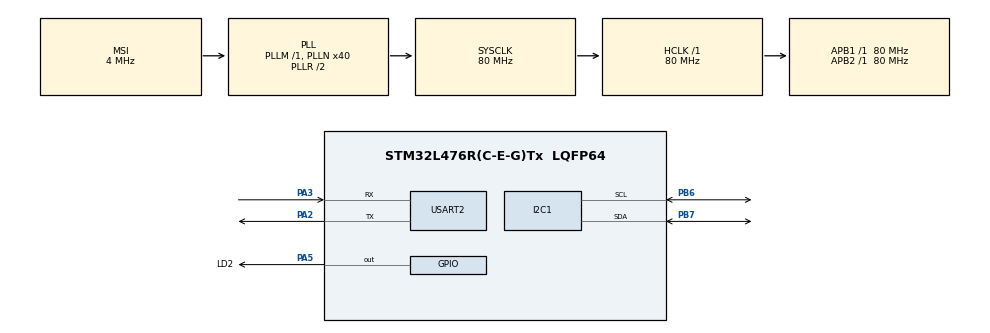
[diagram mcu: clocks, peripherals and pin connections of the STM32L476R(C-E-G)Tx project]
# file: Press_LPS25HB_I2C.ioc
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I2C1.Timing=0x10D19CE4
Mcu.Family=STM32L4
Mcu.Name=STM32L476R(C-E-G)Tx
Mcu.Package=LQFP64
NVIC.PriorityGroup=NVIC_PRIORITYGROUP_4
PA13\ (JTMS-SWDIO).Mode=Serial_Wire
PA13\ (JTMS-SWDIO).Signal=SYS_JTMS-SWDIO
PA14\ (JTCK-SWCLK).Mode=Serial_Wire
PA14\ (JTCK-SWCLK).Signal=SYS_JTCK-SWCLK
PA2.Mode=Asynchronous
PA2.Signal=USART2_TX
PA3.Mode=Asynchronous
PA3.Signal=USART2_RX
PA5.GPIO_Label=LD2
PA5.GPIO_PuPd=GPIO_PULLUP
PA5.Signal=GPIO_Output
PB6.Mode=I2C
PB6.Signal=I2C1_SCL
PB7.Mode=I2C
PB7.Signal=I2C1_SDA
ProjectManager.HeapSize=0x200
ProjectManager.StackSize=0x400
ProjectManager.TargetToolchain=STM32CubeIDE
RCC.AHBFreq_Value=80000000
RCC.APB1Freq_Value=80000000
RCC.APB1TimFreq_Value=80000000
RCC.APB2Freq_Value=80000000
RCC.APB2TimFreq_Value=80000000
RCC.CortexFreq_Value=80000000
RCC.HCLKFreq_Value=80000000
RCC.HSE_VALUE=8000000
RCC.HSI_VALUE=16000000
RCC.LSE_VALUE=32768
RCC.MSI_VALUE=4000000
RCC.PLLN=40
RCC.SYSCLKFreq_VALUE=80000000
RCC.SYSCLKSource=RCC_SYSCLKSOURCE_PLLCLK
RCC.VCOOutputFreq_Value=160000000
USART2.VirtualMode-Asynchronous=VM_ASYNC
board=custom

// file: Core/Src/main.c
/* USER CODE BEGIN Header */
/**
  ******************************************************************************
  * @file           : main.c
  * @brief          : Main program body
  ******************************************************************************
  * @attention
  *
  * Copyright (c) 2025 STMicroelectronics.
  * All rights reserved.
  *
  * This software is licensed under terms that can be found in the LICENSE file
  * in the root directory of this software component.
  * If no LICENSE file comes with this software, it is provided AS-IS.
  *
  ******************************************************************************
  */
/* USER CODE END Header */
#include "main.h"
#include "i2c.h"
#include "usart.h"
#include "gpio.h"

/* USER CODE BEGIN Includes */
#include <stdio.h>

#include "lps25hb_lib.h"
/* USER CODE END Includes */

/* USER CODE BEGIN PD */
#define MEASUREMENT_DELAY 800
/* USER CODE END PD */

void SystemClock_Config(void);

/* USER CODE BEGIN 0 */
int __io_putchar(int character)
{
	if(character == '\n')
	{
		int newLineBegin = '\r';
		HAL_UART_Transmit(&huart2, (uint8_t*)&newLineBegin, 1, HAL_MAX_DELAY);
	}

	HAL_UART_Transmit(&huart2, (uint8_t*)&character, 1, HAL_MAX_DELAY);

	return 1;
}
/* USER CODE END 0 */

int main(void)
{

  /* MCU Configuration--------------------------------------------------------*/

  /* Reset of all peripherals, Initializes the Flash interface and the Systick. */
  HAL_Init();

  /* Configure the system clock */
  SystemClock_Config();

  /* Initialize all configured peripherals */
  MX_GPIO_Init();
  MX_I2C1_Init();
  MX_USART2_UART_Init();

  /* Infinite loop */
  /* USER CODE BEGIN WHILE */

  printf("Looking for devices: \n");

  if(lps25hb_sensor_init() == HAL_OK){
	  printf("LPS25HB ------------------------------------ OK");
  }else{
	  printf("LPS25HB ------------------------------NOT FOUND");
	  Error_Handler();
  }

  HAL_Delay(100);

  while (1)
  {
	  printf("Temp = %.1f (Celsius) \n", lps_25hb_get_temperature());
	  printf("Press = %.1f (hPascals) \n", lps25hb_get_pressure());
	  HAL_GPIO_TogglePin(LD2_GPIO_Port, LD2_Pin);
	  HAL_Delay(MEASUREMENT_DELAY);
    /* USER CODE END WHILE */

  }
}

void SystemClock_Config(void)
{
  RCC_OscInitTypeDef RCC_OscInitStruct = {0};
  RCC_ClkInitTypeDef RCC_ClkInitStruct = {0};

  /** Configure the main internal regulator output voltage
  */
  if (HAL_PWREx_ControlVoltageScaling(PWR_REGULATOR_VOLTAGE_SCALE1) != HAL_OK)
  {
    Error_Handler();
  }

  /** Initializes the RCC Oscillators according to the specified parameters
  * in the RCC_OscInitTypeDef structure.
  */
  RCC_OscInitStruct.OscillatorType = RCC_OSCILLATORTYPE_MSI;
  RCC_OscInitStruct.MSIState = RCC_MSI_ON;
  RCC_OscInitStruct.MSICalibrationValue = 0;
  RCC_OscInitStruct.MSIClockRange = RCC_MSIRANGE_6;
  RCC_OscInitStruct.PLL.PLLState = RCC_PLL_ON;
  RCC_OscInitStruct.PLL.PLLSource = RCC_PLLSOURCE_MSI;
  RCC_OscInitStruct.PLL.PLLM = 1;
  RCC_OscInitStruct.PLL.PLLN = 40;
  RCC_OscInitStruct.PLL.PLLP = RCC_PLLP_DIV7;
  RCC_OscInitStruct.PLL.PLLQ = RCC_PLLQ_DIV2;
  RCC_OscInitStruct.PLL.PLLR = RCC_PLLR_DIV2;
  if (HAL_RCC_OscConfig(&RCC_OscInitStruct) != HAL_OK)
  {
    Error_Handler();
  }

  /** Initializes the CPU, AHB and APB buses clocks
  */
  RCC_ClkInitStruct.ClockType = RCC_CLOCKTYPE_HCLK|RCC_CLOCKTYPE_SYSCLK
                              |RCC_CLOCKTYPE_PCLK1|RCC_CLOCKTYPE_PCLK2;
  RCC_ClkInitStruct.SYSCLKSource = RCC_SYSCLKSOURCE_PLLCLK;
  RCC_ClkInitStruct.AHBCLKDivider = RCC_SYSCLK_DIV1;
  RCC_ClkInitStruct.APB1CLKDivider = RCC_HCLK_DIV1;
  RCC_ClkInitStruct.APB2CLKDivider = RCC_HCLK_DIV1;

  if (HAL_RCC_ClockConfig(&RCC_ClkInitStruct, FLASH_LATENCY_4) != HAL_OK)
  {
    Error_Handler();
  }
}

void Error_Handler(void)
{
  __disable_irq();
  while (1)
  {
  }
}
